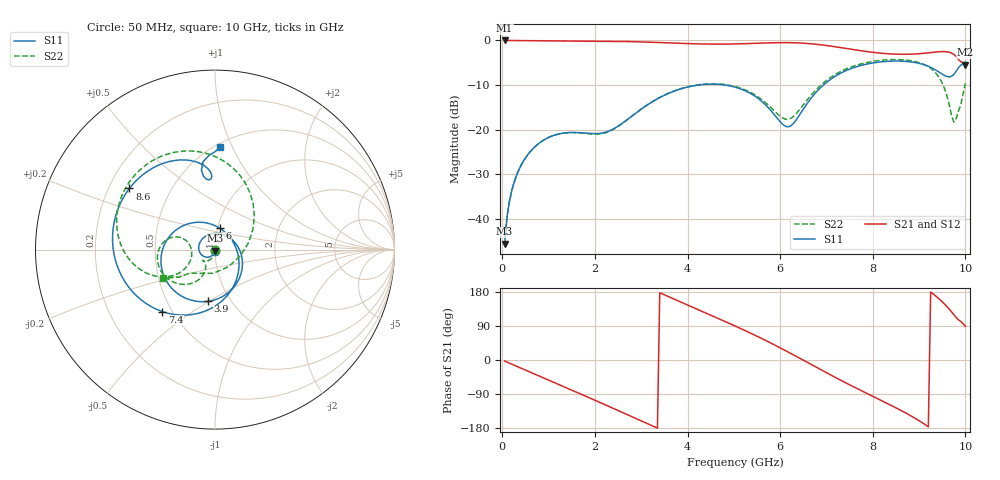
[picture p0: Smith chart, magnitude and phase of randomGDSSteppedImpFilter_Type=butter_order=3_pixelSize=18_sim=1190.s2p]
! freq	dB(S11)	phase(S11)	dB(S12)	phase(S12)
!  dB(S21)	phase(S21)	dB(S22)	phase(S22)
!S-par simulation data
#  GHz  S  DB  R 50
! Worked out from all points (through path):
!   200 points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, 50 MHz to 10 GHz, reference 50 ohm
!   highest |S21| = 0.00 dB at 50 MHz (marker M1); lowest = -5.4 dB at 10 GHz (marker M2)
!   group delay of S21, straight-line fit = 165 ps
!   lowest |S11| = -45.6 dB at 50 MHz (marker M3), VSWR 1.01, Z = 50 - j0.524 ohm
!   |S11| at or under -10 dB: start of sweep to 4.244 GHz; 4.802 GHz to 6.934 GHz (2.133 GHz wide, 36.3 % of centre)
!   |S22| runs from -46.2 to -4.3 dB; largest |S21 - S12| = 0
!   S11 on the Smith chart (normalised r, x): 50 MHz: 1.00, -0.01; 3.9 GHz: 0.79, -0.50; 6 GHz: 1.02, +0.25; 7.4 GHz: 0.44, -0.39; 8.6 GHz: 0.29, +0.30; 10 GHz: 0.53, +0.90
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0.05  -45.61 -91.0  -0.00 -2.7  -0.00 -2.7  -46.16 -88.8
0.1  -39.77 -95.2  -0.01 -5.4  -0.01 -5.4  -39.83 -91.8
0.2  -33.89 -103.1  -0.02 -10.7  -0.02 -10.7  -33.85 -97.3
0.5  -26.37 -124.7  -0.05 -26.6  -0.05 -26.6  -26.34 -109.3
1.15  -21.17 -173.0  -0.10 -61.0  -0.10 -61.0  -21.17 -130.9
1.75  -20.76 131.0  -0.14 -92.8  -0.14 -92.8  -20.85 -138.6
2.65  -18.13 12.1  -0.24 -141.5  -0.24 -141.5  -18.18 -115.7
3.4  -12.82 -60.4  -0.47 177.5  -0.47 177.5  -12.78 -125.0
3.9  -10.73 -97.5  -0.67 150.5  -0.67 150.5  -10.67 -141.5
4.5  -9.81 -138.4  -0.82 118.4  -0.82 118.4  -9.71 -164.0
5.05  -10.55 -176.8  -0.78 88.5  -0.78 88.5  -10.39 175.7
5.55  -13.21 141.5  -0.62 59.8  -0.62 59.8  -12.86 161.8
6  -18.24 77.9  -0.50 32.1  -0.50 32.1  -17.01 170.8
6.25  -18.99 14.1  -0.51 16.0  -0.51 16.0  -17.34 -164.2
6.7  -12.55 -65.6  -0.78 -13.9  -0.78 -13.9  -11.90 -147.3
7.4  -6.88 -130.3  -1.76 -59.2  -1.76 -59.2  -6.51 -172.0
8.35  -4.67 161.5  -3.00 -116.9  -3.00 -116.9  -4.33 141.9
8.6  -4.64 144.5  -3.11 -132.5  -3.11 -132.5  -4.32 128.5
9.15  -5.60 107.9  -2.83 -172.0  -2.83 -172.0  -5.60 91.4
9.55  -7.87 92.6  -2.51 147.6  -2.51 147.6  -10.82 40.4
9.75  -7.64 99.0  -3.12 119.8  -3.12 119.8  -18.32 -52.0
10  -4.87 87.0  -5.43 88.6  -5.43 88.6  -9.63 -151.3
